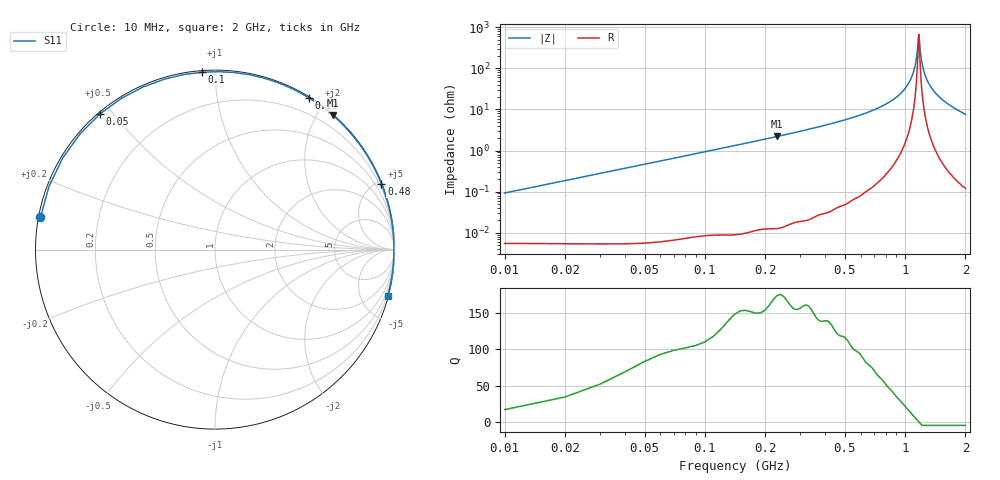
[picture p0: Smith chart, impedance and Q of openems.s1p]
! H_s8_cap_2: PDN loop: BGA pin field to a 0402 capacitor 2 mm away
! stackup: 8-layer 1.6 mm FR-4 (generic)
! ports: 1 IC pins
! openEMS 0.37.0, staircase, fine mesh (dfine 0.035 mm), 2408700 cells
# Hz S RI R 1
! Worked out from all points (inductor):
!   200 points, 10 MHz to 2 GHz, reference 1 ohm
!   read as one part to ground: L = 1.47 nH near 20 MHz
!   highest Q = 172 at 230 MHz (marker M1), where L = 1.52 nH
!   self-resonance near 1.17 GHz
!   S11 on the Smith chart (normalised r, x): 10 MHz: 0.01, +0.09; 50 MHz: 0.01, +0.46; 100 MHz: 0.01, +0.93; 190 MHz: 0.01, +1.80; 480 MHz: 0.04, +5.26; 2 GHz: 0.12, -7.63
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1e7  -0.9725 0.1811
2e7  -0.9243 0.3537
3e7  -0.8486 0.5102
4e7  -0.7517 0.6452
5e7  -0.6405 0.756
6e7  -0.5221 0.8422
7e7  -0.4022 0.9055
8e7  -0.2854 0.9487
9e7  -0.1746 0.9752
1e8  -0.0713 0.9884
1.2e8  0.1111 0.986
1.4e8  0.262 0.9583
1.6e8  0.3845 0.9166
1.9e8  0.5246 0.8447
2.3e8  0.6552 0.7497
2.6e8  0.7243 0.6835
3e8  0.7907 0.6058
3.5e8  0.8482 0.5231
4.1e8  0.8934 0.442
4.8e8  0.9274 0.3657
5.1e8  0.9382 0.3375
6.2e8  0.9649 0.2515
7.6e8  0.9829 0.1682
1.01e9  0.9954 0.0576
1.26e9  0.9965 -0.0296
1.51e9  0.9909 -0.1072
1.76e9  0.9796 -0.1824
2e9  0.9624 -0.2565
